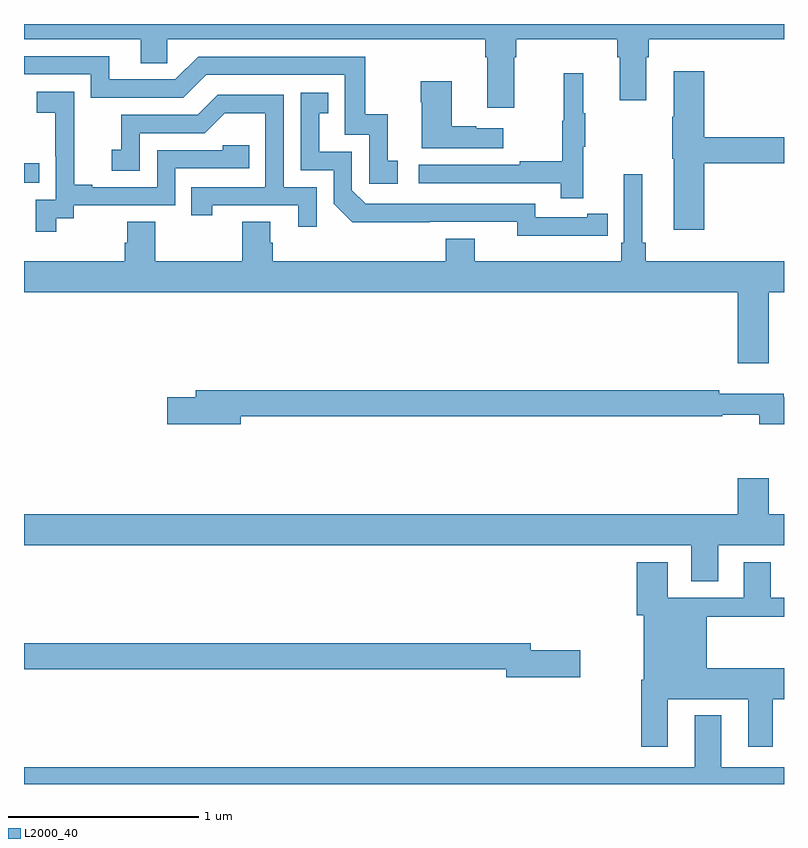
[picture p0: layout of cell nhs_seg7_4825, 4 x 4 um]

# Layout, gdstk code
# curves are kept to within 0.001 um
import gdstk
lib = gdstk.Library(unit=1e-6, precision=1e-09)
def R(c, l, rs):  # rectangles x0, y0, x1, y1
    for r in rs: c.add(gdstk.rectangle(r[:2], r[2:], *l))
def P(c, l, *ps):  # polygons
    for p in ps: c.add(gdstk.Polygon(p, *l))
L2000_40 = (2000, 40)

nhs_seg7_4825 = lib.new_cell('nhs_seg7_4825')
R(nhs_seg7_4825, L2000_40, [(413,1029.165,413.081,1029.266)])
P(nhs_seg7_4825, L2000_40, [(417,1030),(413,1030),(413,1029.92),(413.615,1029.92),(413.615,1029.793),(413.754,1029.793),(413.754,1029.92),(415.427,1029.92),(415.427,1029.824),(415.439,1029.824),(415.439,1029.558),(415.579,1029.558),(415.579,1029.824),(415.592,1029.824),(415.592,1029.92),(416.123,1029.92),(416.123,1029.824),(416.135,1029.824),(416.135,1029.6),(416.275,1029.6),(416.275,1029.824),(416.288,1029.824),(416.288,1029.92),(417,1029.92)],
  [(414.967,1029.279),(414.914,1029.279),(414.914,1029.526),(414.796,1029.526),(414.796,1029.828),(413.916,1029.828),(413.796,1029.708),(413.449,1029.708),(413.449,1029.831),(413,1029.831),(413,1029.735),(413.352,1029.735),(413.352,1029.612),(413.838,1029.612),(413.958,1029.732),(414.687,1029.732),(414.687,1029.417),(414.816,1029.417),(414.816,1029.159),(414.967,1029.159)],
  [(416.579,1029.268),(417,1029.268),(417,1029.404),(416.579,1029.404),(416.579,1029.751),(416.42,1029.751),(416.42,1029.512),(416.413,1029.512),(416.413,1029.291),(416.42,1029.291),(416.42,1028.916),(416.579,1028.916)],
  [(415.943,1029.355),(415.954,1029.355),(415.954,1029.529),(415.943,1029.529),(415.943,1029.742),(415.84,1029.742),(415.84,1029.492),(415.833,1029.492),(415.833,1029.278),(415.609,1029.278),(415.609,1029.258),(415.077,1029.258),(415.077,1029.162),(415.825,1029.162),(415.825,1029.084),(415.943,1029.084)],
  [(415.522,1029.451),(415.379,1029.451),(415.379,1029.461),(415.252,1029.461),(415.252,1029.7),(415.087,1029.7),(415.087,1029.587),(415.094,1029.587),(415.094,1029.347),(415.522,1029.347)],
  [(413.17,1028.977),(413.262,1028.977),(413.262,1029.045),(413.796,1029.045),(413.796,1029.24),(414.185,1029.24),(414.185,1029.363),(414.045,1029.363),(414.045,1029.336),(413.7,1029.336),(413.7,1029.141),(413.359,1029.141),(413.359,1029.154),(413.264,1029.154),(413.264,1029.437),(413.265,1029.437),(413.265,1029.643),(413.067,1029.643),(413.067,1029.533),(413.165,1029.533),(413.165,1029.305),(413.166,1029.305),(413.166,1029.075),(413.061,1029.075),(413.061,1028.907),(413.17,1028.907)],
  [(415.964,1028.886),(416.072,1028.886),(416.072,1029.002),(415.964,1029.002),(415.964,1028.982),(415.692,1028.982),(415.692,1029.054),(414.798,1029.054),(414.726,1029.126),(414.726,1029.327),(414.553,1029.327),(414.553,1029.531),(414.602,1029.531),(414.602,1029.637),(414.456,1029.637),(414.456,1029.231),(414.63,1029.231),(414.63,1029.054),(414.728,1028.957),(415.596,1028.958),(415.596,1028.885)],
  [(414.54,1029.141),(414.366,1029.141),(414.366,1029.627),(414.02,1029.627),(413.915,1029.522),(413.512,1029.522),(413.512,1029.337),(413.463,1029.337),(413.463,1029.228),(413.61,1029.228),(413.61,1029.426),(413.952,1029.426),(414.056,1029.53),(414.27,1029.53),(414.27,1029.141),(413.881,1029.141),(413.881,1028.994),(413.992,1028.994),(413.992,1029.045),(414.443,1029.045),(414.443,1028.934),(414.54,1028.934)],
  [(416.92,1028.588),(417,1028.588),(417,1028.752),(416.273,1028.752),(416.273,1028.848),(416.254,1028.848),(416.254,1029.208),(416.157,1029.208),(416.157,1028.848),(416.144,1028.848),(416.144,1028.752),(415.372,1028.752),(415.372,1028.869),(415.22,1028.869),(415.22,1028.752),(414.308,1028.752),(414.308,1028.85),(414.295,1028.85),(414.295,1028.96),(414.148,1028.96),(414.148,1028.752),(413.691,1028.752),(413.691,1028.96),(413.543,1028.96),(413.543,1028.85),(413.531,1028.85),(413.531,1028.752),(413,1028.752),(413,1028.588),(416.756,1028.588),(416.756,1028.214),(416.92,1028.214)],
  [(414.142,1027.936),(416.674,1027.936),(416.674,1027.944),(416.87,1027.944),(416.87,1027.894),(417,1027.894),(417,1028.036),(416.998,1028.036),(416.998,1028.053),(416.66,1028.053),(416.66,1028.072),(413.903,1028.072),(413.903,1028.036),(413.754,1028.036),(413.754,1027.894),(414.142,1027.894)],
  [(416.653,1027.256),(417,1027.256),(417,1027.42),(416.92,1027.42),(416.92,1027.609),(416.756,1027.609),(416.756,1027.42),(413,1027.42),(413,1027.256),(416.513,1027.256),(416.513,1027.066),(416.653,1027.066)],
  [(416.389,1026.446),(416.813,1026.446),(416.813,1026.195),(416.941,1026.195),(416.941,1026.446),(417,1026.446),(417,1026.61),(416.593,1026.61),(416.593,1026.88),(417,1026.88),(417,1026.981),(416.929,1026.981),(416.929,1027.168),(416.789,1027.168),(416.789,1026.981),(416.389,1026.981),(416.389,1027.168),(416.225,1027.168),(416.225,1026.888),(416.261,1026.888),(416.261,1026.55),(416.249,1026.55),(416.249,1026.195),(416.389,1026.195)],
  [(415.927,1026.704),(415.666,1026.704),(415.666,1026.74),(413,1026.74),(413,1026.604),(415.538,1026.604),(415.538,1026.562),(415.927,1026.562)],
  [(416.671,1026.361),(416.531,1026.361),(416.531,1026.088),(413,1026.088),(413,1026),(417,1026),(417,1026.088),(416.671,1026.088)])

lib.write_gds('nhs_seg7_4825.gds')
